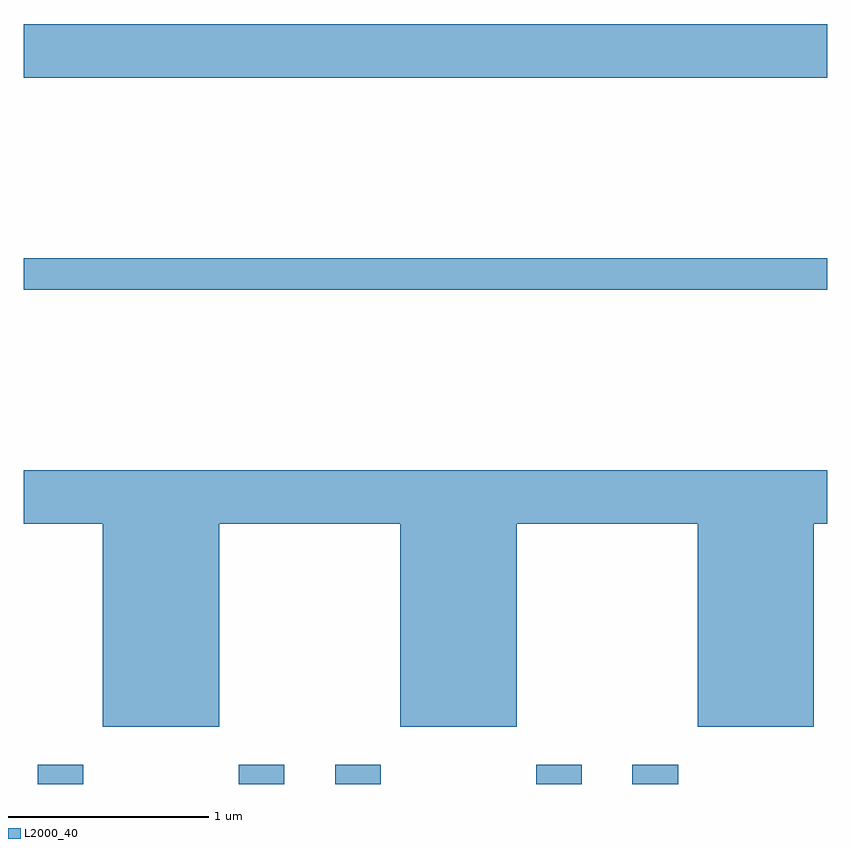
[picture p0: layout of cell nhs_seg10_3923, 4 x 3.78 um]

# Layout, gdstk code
import gdstk
lib = gdstk.Library(unit=1e-6, precision=1e-09)
def R(c, l, rs):  # rectangles x0, y0, x1, y1
    for r in rs: c.add(gdstk.rectangle(r[:2], r[2:], *l))
def P(c, l, *ps):  # polygons
    for p in ps: c.add(gdstk.Polygon(p, *l))
L2000_40 = (2000, 40)

nhs_seg10_3923 = lib.new_cell('nhs_seg10_3923')
R(nhs_seg10_3923, L2000_40, [(299.681,2212.522,299.909,2212.619), (300.681,2212.522,300.909,2212.619), (301.161,2212.522,301.389,2212.619), (302.161,2212.522,302.389,2212.619), (302.641,2212.522,302.869,2212.619), (299.611,2214.981,303.611,2215.139), (299.611,2216.036,303.611,2216.304)])
P(nhs_seg10_3923, L2000_40, [(300.584,2213.816),(301.486,2213.816),(301.486,2212.806),(302.064,2212.806),(302.064,2213.816),(302.966,2213.816),(302.966,2212.806),(303.544,2212.806),(303.544,2213.816),(303.611,2213.816),(303.611,2214.084),(299.611,2214.084),(299.611,2213.816),(300.006,2213.816),(300.006,2212.806),(300.584,2212.806)])

lib.write_gds('nhs_seg10_3923.gds')
